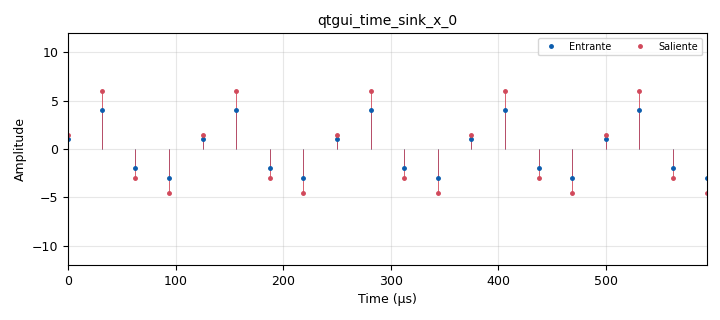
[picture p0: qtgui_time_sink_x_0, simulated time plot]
options:
  parameters:
    author: Bryan
    copyright: UIS
    description: ejemplo de un acumulador
    generate_options: qt_gui
    id: miprimer
    output_language: python
    title: miprimer
  states: {}

blocks:
- name: samp_rate
  id: variable
  parameters:
    value: '32000'
  states: {}
- name: blocks_vector_source_x_0
  id: blocks_vector_source_x
  parameters:
    repeat: 'True'
    type: float
    vector: (1, 4, -2, -3)
  states: {}
- name: epy_block_0
  id: epy_block
  parameters:
    K_amplificacion: '1.5'
    _source_code: "import numpy as np\nfrom gnuradio import gr\n\n\nclass blk(gr.sync_block):  \n    \n\n    def __init__(self, K_amplificacion=1.0):  \n        \"\"\"Bloque acumulador simplemente toma la senal entrante y entrega acumulada\"\"\"\n        gr.sync_block.__init__(\n            self,\n            name='Acumulador',   \n            in_sig=[np.float32],\n            out_sig=[np.float32]\n        )\n        self.K_amplificacion = K_amplificacion\n\n    def work(self, input_items, output_items):\n        x=input_items[0]\n        y=output_items[0]\n        y[:]=x*self.K_amplificacion\n        return len(x)\n        \n\n"
  states: {}
- name: qtgui_time_sink_x_0
  id: qtgui_time_sink_x
  parameters:
    label1: Entrante
    label2: Saliente
    marker1: '0'
    marker2: '2'
    nconnections: '2'
    size: '20'
    srate: samp_rate
    stemplot: 'True'
    type: float
    width1: '4'
    width2: '2'
    ymax: '12'
    ymin: '-12'
  states: {}

connections:
- [blocks_vector_source_x_0, '0', epy_block_0, '0']
- [blocks_vector_source_x_0, '0', qtgui_time_sink_x_0, '0']
- [epy_block_0, '0', qtgui_time_sink_x_0, '1']

metadata:
  file_format: 1
